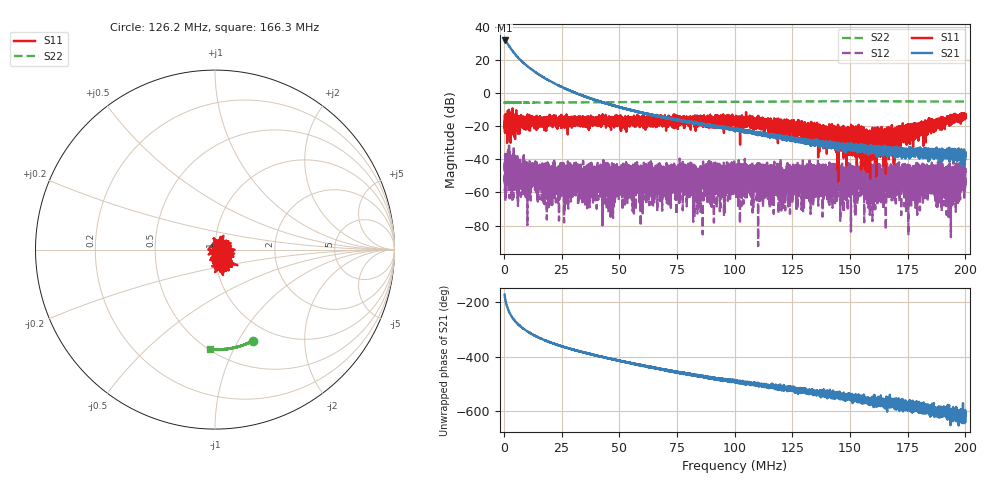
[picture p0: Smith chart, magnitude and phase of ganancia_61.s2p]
# Hz S DB R 50
! CMT, M5065, 19127446, 24.2.4/2
! Date: 11/8/2024 4:20:36 PM
! Data: Format (Calibration Info)
! Freq	S11:dB/Ang(F2)	S21:dB/Ang(F2)	S12:dB/Ang(F2)	S22:dB/Ang(F2)
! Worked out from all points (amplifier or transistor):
!   9000 points, 300 kHz to 200 MHz, reference 50 ohm
!   highest |S21| = 31.6 dB at 366.6 kHz (marker M1)
!   |S21| within 3 dB of that: start of sweep to 2.081 MHz
!   unconditionally stable (mu >= 1): start of sweep to 521.4 kHz; 703.5 kHz to 2.072 MHz; 2.24 MHz to end of sweep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
!   at 33.59 MHz: K = 78.07, MAG = 0.0 dB, |S12| = -45.3 dB
!   at 100.2 MHz: K = 1525.34, MAG = -20.8 dB, |S12| = -50.4 dB
!   at 200 MHz: K = 3782.31, MAG = -34.1 dB, |S12| = -45.3 dB
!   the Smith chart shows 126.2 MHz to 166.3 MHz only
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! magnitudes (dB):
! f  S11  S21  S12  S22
! 300 kHz  -18.0  31.5  -54.4  -5.8
! 366.6 kHz  -21.3  31.6  -40.9  -5.8
! 1.321 MHz  -16.5  30.1  -47.5  -5.8
! 6.846 MHz  -14.4  20.2  -54.3  -5.8
! 13.02 MHz  -17.7  13.1  -48.9  -5.8
! 20.05 MHz  -14.1  7.0  -45.5  -5.8
! 25.42 MHz  -17.8  3.3  -50.7  -5.8
! 33.59 MHz  -18.0  -1.4  -45.3  -5.7
! 55.58 MHz  -15.5  -10.5  -56.6  -5.6
! 66.87 MHz  -16.9  -14.2  -49.3  -5.5
! 100.2 MHz  -17.4  -22.4  -50.4  -5.4
! 109.1 MHz  -18.0  -24.5  -49.6  -5.4
! 121.2 MHz  -20.0  -26.9  -61.6  -5.2
! 123.6 MHz  -20.5  -27.5  -54.1  -5.2
! 133.4 MHz  -22.7  -29.9  -55.9  -5.1
! 152.2 MHz  -25.5  -34.3  -45.8  -5.1
! 154.6 MHz  -23.8  -32.8  -47.4  -5.1
! 157.7 MHz  -32.1  -34.2  -44.6  -5.1
! 166.7 MHz  -27.7  -36.7  -62.9  -5.1
! 193.7 MHz  -17.4  -38.8  -58.1  -5.3
! 198.7 MHz  -17.0  -36.9  -51.4  -5.3
! 200 MHz  -12.8  -35.8  -45.3  -5.3
